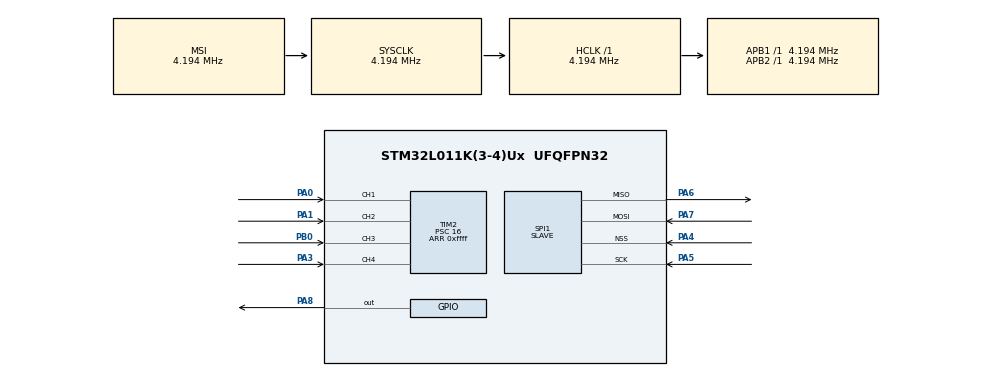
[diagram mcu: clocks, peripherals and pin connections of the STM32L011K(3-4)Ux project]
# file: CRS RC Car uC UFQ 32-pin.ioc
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Dma.Request0=SPI1_TX
Dma.SPI1_TX.0.Direction=DMA_MEMORY_TO_PERIPH
Dma.SPI1_TX.0.Instance=DMA1_Channel3
Dma.SPI1_TX.0.MemDataAlignment=DMA_MDATAALIGN_BYTE
Dma.SPI1_TX.0.MemInc=DMA_MINC_ENABLE
Dma.SPI1_TX.0.Mode=DMA_NORMAL
Dma.SPI1_TX.0.PeriphDataAlignment=DMA_PDATAALIGN_BYTE
Dma.SPI1_TX.0.PeriphInc=DMA_PINC_DISABLE
Dma.SPI1_TX.0.Priority=DMA_PRIORITY_LOW
Mcu.Family=STM32L0
Mcu.Name=STM32L011K(3-4)Ux
Mcu.Package=UFQFPN32
NVIC.DMA1_Channel2_3_IRQn=true\:0\:0\:false\:false\:true\:false\:true\:true
NVIC.SPI1_IRQn=true\:0\:0\:false\:false\:true\:true\:true\:true
NVIC.TIM2_IRQn=true\:0\:0\:false\:false\:true\:true\:true\:true
PA0-CK_IN.Signal=S_TIM2_CH1
PA1.Signal=S_TIM2_CH2
PA3.Signal=S_TIM2_CH4
PA4.Mode=NSS_Signal_Hard_Input
PA4.Signal=SPI1_NSS
PA5.Mode=Full_Duplex_Slave
PA5.Signal=SPI1_SCK
PA6.Mode=Full_Duplex_Slave
PA6.Signal=SPI1_MISO
PA7.Mode=Full_Duplex_Slave
PA7.Signal=SPI1_MOSI
PA8.Signal=GPIO_Output
PB0.Signal=S_TIM2_CH3
PC14-OSC32_IN.Mode=LSE-External-Oscillator
PC14-OSC32_IN.Signal=RCC_OSC32_IN
PC15-OSC32_OUT.Mode=LSE-External-Oscillator
PC15-OSC32_OUT.Signal=RCC_OSC32_OUT
ProjectManager.HeapSize=0x200
ProjectManager.StackSize=0x400
ProjectManager.TargetToolchain=STM32CubeIDE
RCC.AHBFreq_Value=4194000
RCC.APB1Freq_Value=4194000
RCC.APB1TimFreq_Value=4194000
RCC.APB2Freq_Value=4194000
RCC.APB2TimFreq_Value=4194000
RCC.HCLKFreq_Value=4194000
RCC.HSE_VALUE=8000000
RCC.HSI16_VALUE=16000000
RCC.HSI_VALUE=16000000
RCC.MSIClockRange=RCC_MSIRANGE_6
RCC.MSI_VALUE=4194000
RCC.PLLDIV=RCC_PLLDIV_4
RCC.SYSCLKFreq_VALUE=4194000
RCC.VCOOutputFreq_Value=48000000
SH.S_TIM2_CH1.0=TIM2_CH1,Input_Capture1_from_TI1
SH.S_TIM2_CH2.0=TIM2_CH2,Input_Capture2_from_TI2
SH.S_TIM2_CH3.0=TIM2_CH3,Input_Capture3_from_TI3
SH.S_TIM2_CH4.0=TIM2_CH4,Input_Capture4_from_TI4
SPI1.CLKPolarity=SPI_POLARITY_LOW
SPI1.DataSize=SPI_DATASIZE_8BIT
SPI1.Direction=SPI_DIRECTION_2LINES
SPI1.Mode=SPI_MODE_SLAVE
SPI1.VirtualNSS=VM_NSSHARD
SPI1.VirtualType=VM_SLAVE
TIM2.AutoReloadPreload=TIM_AUTORELOAD_PRELOAD_DISABLE
TIM2.Channel-Input_Capture1_from_TI1=TIM_CHANNEL_1
TIM2.Channel-Input_Capture2_from_TI2=TIM_CHANNEL_2
TIM2.Channel-Input_Capture3_from_TI3=TIM_CHANNEL_3
TIM2.Channel-Input_Capture4_from_TI4=TIM_CHANNEL_4
TIM2.ClockDivision=TIM_CLOCKDIVISION_DIV1
TIM2.ICFilter_CH2=0xf
TIM2.ICFilter_CH3=0xf
TIM2.ICFilter_CH4=0xf
TIM2.ICPolarity_CH1=TIM_INPUTCHANNELPOLARITY_RISING
TIM2.ICPolarity_CH2=TIM_INPUTCHANNELPOLARITY_RISING
TIM2.ICPolarity_CH3=TIM_INPUTCHANNELPOLARITY_RISING
TIM2.ICPolarity_CH4=TIM_INPUTCHANNELPOLARITY_RISING
TIM2.Period=0xffff
TIM2.Prescaler=16
VP_TIM2_VS_ClockSourceINT.Mode=Internal
board=custom

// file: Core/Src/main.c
/* USER CODE BEGIN Header */
/**
  ******************************************************************************
  * @file           : main.c
  * @brief          : Main program body
  ******************************************************************************
  * @attention
  *
  * <h2><center>&copy; Copyright (c) 2022 STMicroelectronics.
  * All rights reserved.</center></h2>
  *
  * This software component is licensed by ST under BSD 3-Clause license,
  * the "License"; You may not use this file except in compliance with the
  * License. You may obtain a copy of the License at:
  *                        opensource.org/licenses/BSD-3-Clause
  *
  ******************************************************************************
  */
/* USER CODE END Header */
#include "main.h"

/* USER CODE BEGIN Includes */
#include "stdbool.h"
#include <string.h>
/* USER CODE END Includes */

/* USER CODE BEGIN PD */
#define TIMCLOCK 131062
#define PRESCALAR 16
#define BUFFERSIZE 8
#define ENCODERS 4
#define ENCODERCHL1 0
#define ENCODERCHL2 1
#define ENCODERCHL3 2
#define ENCODERCHL4 3

/* USER CODE END PD */

SPI_HandleTypeDef hspi1;
DMA_HandleTypeDef hdma_spi1_tx;

TIM_HandleTypeDef htim2;

void SystemClock_Config(void);
static void MX_GPIO_Init(void);
static void MX_DMA_Init(void);
static void MX_SPI1_Init(void);
static void MX_TIM2_Init(void);
/* USER CODE BEGIN PFP */
void capture_time(int channel, TIM_HandleTypeDef *htim);
/* USER CODE END PFP */

/* USER CODE BEGIN 0 */
uint8_t TX_Buffer[BUFFERSIZE] = {0};
uint8_t send_buffer[BUFFERSIZE] = {0};

//bool Edge_Captured[ENCODERS] = {false};
//uint32_t Edge_Time1[ENCODERS] = {0};
//uint32_t Edge_Time2[ENCODERS] = {0};
uint16_t new_edge[ENCODERS] = {0,0,0,0};
uint16_t old_edge[ENCODERS] = {0,0,0,0};
uint32_t TIM_CHANNEL[ENCODERS] = {TIM_CHANNEL_1,TIM_CHANNEL_2,TIM_CHANNEL_3,TIM_CHANNEL_4};

/* USER CODE END 0 */

int main(void)
{

  /* MCU Configuration--------------------------------------------------------*/

  /* Reset of all peripherals, Initializes the Flash interface and the Systick. */
  HAL_Init();

  /* Configure the system clock */
  SystemClock_Config();

  /* Initialize all configured peripherals */
  MX_GPIO_Init();
  MX_DMA_Init();
  MX_SPI1_Init();
  MX_TIM2_Init();
  /* USER CODE BEGIN 2 */

  // Turn on LED
  HAL_GPIO_WritePin(GPIOA, GPIO_PIN_8,GPIO_PIN_SET);

  // Start Timer 2 and ch1
  HAL_TIM_Base_Start_IT(&htim2);
  HAL_TIM_IC_Start_IT(&htim2, TIM_CHANNEL_1);
  HAL_TIM_IC_Start_IT(&htim2, TIM_CHANNEL_2);
  HAL_TIM_IC_Start_IT(&htim2, TIM_CHANNEL_3);
  HAL_TIM_IC_Start_IT(&htim2, TIM_CHANNEL_4);

  /* USER CODE END 2 */

  /* Infinite loop */
  while (1)
  {

    /* USER CODE BEGIN 3 */
	  memcpy(send_buffer, TX_Buffer, BUFFERSIZE);
	  HAL_SPI_Transmit_DMA(&hspi1,send_buffer, BUFFERSIZE);
	  while(HAL_SPI_GetState(&hspi1) != HAL_SPI_STATE_READY);

  }
  /* USER CODE END 3 */
}

void SystemClock_Config(void)
{
  RCC_OscInitTypeDef RCC_OscInitStruct = {0};
  RCC_ClkInitTypeDef RCC_ClkInitStruct = {0};

  /** Configure the main internal regulator output voltage
  */
  __HAL_PWR_VOLTAGESCALING_CONFIG(PWR_REGULATOR_VOLTAGE_SCALE1);
  /** Initializes the RCC Oscillators according to the specified parameters
  * in the RCC_OscInitTypeDef structure.
  */
  RCC_OscInitStruct.OscillatorType = RCC_OSCILLATORTYPE_MSI;
  RCC_OscInitStruct.MSIState = RCC_MSI_ON;
  RCC_OscInitStruct.MSICalibrationValue = 0;
  RCC_OscInitStruct.MSIClockRange = RCC_MSIRANGE_6;
  RCC_OscInitStruct.PLL.PLLState = RCC_PLL_NONE;
  if (HAL_RCC_OscConfig(&RCC_OscInitStruct) != HAL_OK)
  {
    Error_Handler();
  }
  /** Initializes the CPU, AHB and APB buses clocks
  */
  RCC_ClkInitStruct.ClockType = RCC_CLOCKTYPE_HCLK|RCC_CLOCKTYPE_SYSCLK
                              |RCC_CLOCKTYPE_PCLK1|RCC_CLOCKTYPE_PCLK2;
  RCC_ClkInitStruct.SYSCLKSource = RCC_SYSCLKSOURCE_MSI;
  RCC_ClkInitStruct.AHBCLKDivider = RCC_SYSCLK_DIV1;
  RCC_ClkInitStruct.APB1CLKDivider = RCC_HCLK_DIV1;
  RCC_ClkInitStruct.APB2CLKDivider = RCC_HCLK_DIV1;

  if (HAL_RCC_ClockConfig(&RCC_ClkInitStruct, FLASH_LATENCY_0) != HAL_OK)
  {
    Error_Handler();
  }
}

static void MX_SPI1_Init(void)
{

  /* SPI1 parameter configuration*/
  hspi1.Instance = SPI1;
  hspi1.Init.Mode = SPI_MODE_SLAVE;
  hspi1.Init.Direction = SPI_DIRECTION_2LINES;
  hspi1.Init.DataSize = SPI_DATASIZE_8BIT;
  hspi1.Init.CLKPolarity = SPI_POLARITY_LOW;
  hspi1.Init.CLKPhase = SPI_PHASE_1EDGE;
  hspi1.Init.NSS = SPI_NSS_HARD_INPUT;
  hspi1.Init.FirstBit = SPI_FIRSTBIT_MSB;
  hspi1.Init.TIMode = SPI_TIMODE_DISABLE;
  hspi1.Init.CRCCalculation = SPI_CRCCALCULATION_DISABLE;
  hspi1.Init.CRCPolynomial = 7;
  if (HAL_SPI_Init(&hspi1) != HAL_OK)
  {
    Error_Handler();
  }

}

static void MX_TIM2_Init(void)
{

  TIM_ClockConfigTypeDef sClockSourceConfig = {0};
  TIM_MasterConfigTypeDef sMasterConfig = {0};
  TIM_IC_InitTypeDef sConfigIC = {0};

  htim2.Instance = TIM2;
  htim2.Init.Prescaler = 16;
  htim2.Init.CounterMode = TIM_COUNTERMODE_UP;
  htim2.Init.Period = 0xffff;
  htim2.Init.ClockDivision = TIM_CLOCKDIVISION_DIV1;
  htim2.Init.AutoReloadPreload = TIM_AUTORELOAD_PRELOAD_DISABLE;
  if (HAL_TIM_Base_Init(&htim2) != HAL_OK)
  {
    Error_Handler();
  }
  sClockSourceConfig.ClockSource = TIM_CLOCKSOURCE_INTERNAL;
  if (HAL_TIM_ConfigClockSource(&htim2, &sClockSourceConfig) != HAL_OK)
  {
    Error_Handler();
  }
  if (HAL_TIM_IC_Init(&htim2) != HAL_OK)
  {
    Error_Handler();
  }
  sMasterConfig.MasterOutputTrigger = TIM_TRGO_RESET;
  sMasterConfig.MasterSlaveMode = TIM_MASTERSLAVEMODE_DISABLE;
  if (HAL_TIMEx_MasterConfigSynchronization(&htim2, &sMasterConfig) != HAL_OK)
  {
    Error_Handler();
  }
  sConfigIC.ICPolarity = TIM_INPUTCHANNELPOLARITY_RISING;
  sConfigIC.ICSelection = TIM_ICSELECTION_DIRECTTI;
  sConfigIC.ICPrescaler = TIM_ICPSC_DIV1;
  sConfigIC.ICFilter = 0;
  if (HAL_TIM_IC_ConfigChannel(&htim2, &sConfigIC, TIM_CHANNEL_1) != HAL_OK)
  {
    Error_Handler();
  }
  sConfigIC.ICFilter = 0xf;
  if (HAL_TIM_IC_ConfigChannel(&htim2, &sConfigIC, TIM_CHANNEL_2) != HAL_OK)
  {
    Error_Handler();
  }
  if (HAL_TIM_IC_ConfigChannel(&htim2, &sConfigIC, TIM_CHANNEL_3) != HAL_OK)
  {
    Error_Handler();
  }
  if (HAL_TIM_IC_ConfigChannel(&htim2, &sConfigIC, TIM_CHANNEL_4) != HAL_OK)
  {
    Error_Handler();
  }

}

static void MX_DMA_Init(void)
{

  /* DMA controller clock enable */
  __HAL_RCC_DMA1_CLK_ENABLE();

  /* DMA interrupt init */
  /* DMA1_Channel2_3_IRQn interrupt configuration */
  HAL_NVIC_SetPriority(DMA1_Channel2_3_IRQn, 0, 0);
  HAL_NVIC_EnableIRQ(DMA1_Channel2_3_IRQn);

}

static void MX_GPIO_Init(void)
{
  GPIO_InitTypeDef GPIO_InitStruct = {0};

  /* GPIO Ports Clock Enable */
  __HAL_RCC_GPIOC_CLK_ENABLE();
  __HAL_RCC_GPIOA_CLK_ENABLE();
  __HAL_RCC_GPIOB_CLK_ENABLE();

  /*Configure GPIO pin Output Level */
  HAL_GPIO_WritePin(GPIOA, GPIO_PIN_8, GPIO_PIN_RESET);

  /*Configure GPIO pin : PA8 */
  GPIO_InitStruct.Pin = GPIO_PIN_8;
  GPIO_InitStruct.Mode = GPIO_MODE_OUTPUT_PP;
  GPIO_InitStruct.Pull = GPIO_NOPULL;
  GPIO_InitStruct.Speed = GPIO_SPEED_FREQ_LOW;
  HAL_GPIO_Init(GPIOA, &GPIO_InitStruct);

}

/* USER CODE BEGIN 4 */

void capture_time(int chl,TIM_HandleTypeDef *htim)
{
	uint16_t difference = 0;
	uint8_t index = chl*2;
	new_edge[chl] = HAL_TIM_ReadCapturedValue(htim, TIM_CHANNEL[chl]); // get current timer

	if (new_edge[chl] > old_edge[chl] )
	{
		difference = new_edge[chl] - old_edge[chl];
	}

	else if ( old_edge[chl] > new_edge[chl] )
	{
		difference = (0xffff - old_edge[chl]) + new_edge[chl];
	}
	else
		return;

	old_edge[chl] = new_edge[chl]; // store current time for next trigg event

	TX_Buffer[index] = (uint8_t)((difference & 0xFF00) >> 8 );
	TX_Buffer[index+1] = (uint8_t)(difference & 0x00FF);

}

// Hall sensor interrupt routine
void HAL_TIM_IC_CaptureCallback(TIM_HandleTypeDef *htim)
{
	switch(htim->Channel)
	{
	  case HAL_TIM_ACTIVE_CHANNEL_1 : // Front Right
		  //HAL_GPIO_TogglePin(GPIOA, GPIO_PIN_8);
		  capture_time(ENCODERCHL1,htim);

		 break;

	  case HAL_TIM_ACTIVE_CHANNEL_2 : // Front Left

		 capture_time(ENCODERCHL2,htim);

		 break;

	  case HAL_TIM_ACTIVE_CHANNEL_3 : // Rear Right

		  capture_time(ENCODERCHL3,htim);

		 break;

	  case HAL_TIM_ACTIVE_CHANNEL_4 : // Rear Left

		  capture_time(ENCODERCHL4,htim);

		 break;

	  default :
		  break;
	}
}

/* USER CODE END 4 */

void Error_Handler(void)
{
  /* USER CODE BEGIN Error_Handler_Debug */
  /* User can add his own implementation to report the HAL error return state */
  __disable_irq();
  //while (1)
  //{
  //}
  /* USER CODE END Error_Handler_Debug */
}

/************************ (C) COPYRIGHT STMicroelectronics *****END OF FILE****/
